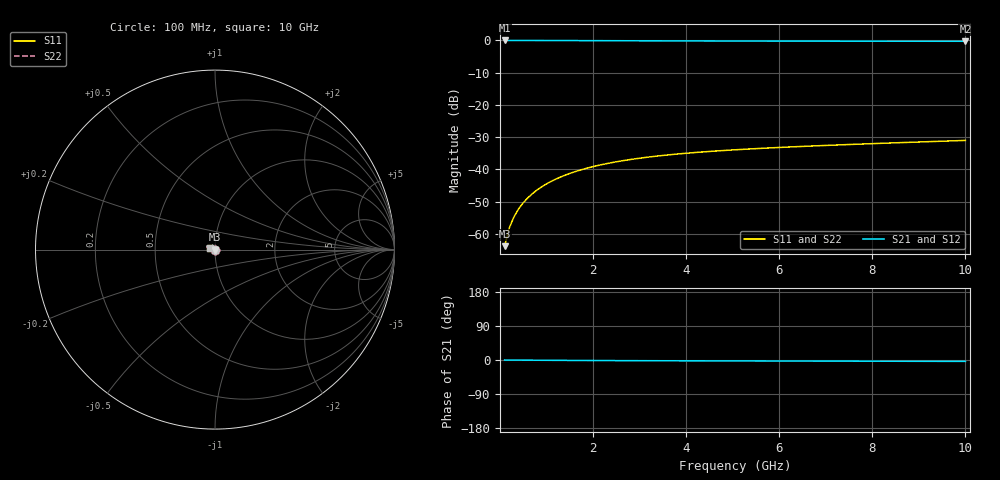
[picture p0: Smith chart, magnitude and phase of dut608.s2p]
! Touchstone file exported from HFSS 2024.1.0
!  File:  C:/UserFiles/LocalFiles/RDL_TSV_Batchsim/temp_TSV1_608_1779788070.aedt
!  Generated:  05:39:18 PM May 26, 2026
!  Design:  TSV1
!  Project:  temp_TSV1_608_1779788070
!  Setup:  Setup1
!  Solution:  Sweep
! Variables:
!  dtsv = 7.29um
!  hbump = 3um
!  htsv = 53.43um
!  lrdl = 252.1521522um
!  p = 40
!  p1 = 46.87um
!  t = 500um
!  trdl = 3um
!  wrdl = 24.89489489um
# GHz S MA R 50.000000
! Terminal data exported
! Port[1] = TSV22_T1
! Port[2] = TSV22_T2
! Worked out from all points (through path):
!   100 points, 100 MHz to 10 GHz, reference 50 ohm
!   highest |S21| = 0.00 dB at 100 MHz (marker M1); lowest = -0.3 dB at 10 GHz (marker M2)
!   lowest |S11| = -63.8 dB at 100 MHz (marker M3), VSWR 1.00, Z = 50 - j0.0616 ohm
!   |S11| at or under -10 dB: start of sweep to end of sweep
!   |S22| runs from -63.8 to -31.0 dB; largest |S21 - S12| = 3e-15
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0.1  0.0006458 -72.5  0.9998 -0.1  0.9998 -0.1  0.0006458 -72.5
! Gamma 0 0 0 0
! Port Impedance 50 0 50 0
0.2  0.001236 -84.1  0.9997 -0.2  0.9997 -0.2  0.001236 -84.1
0.3  0.001836 -89.5  0.9996 -0.2  0.9996 -0.2  0.001836 -89.5
0.4  0.002439 -93.2  0.9994 -0.3  0.9994 -0.3  0.002439 -93.2
0.5  0.003039 -96.2  0.9992 -0.4  0.9992 -0.4  0.003039 -96.2
0.6  0.003636 -98.9  0.9989 -0.5  0.9989 -0.5  0.003636 -98.9
0.7  0.004229 -101.3  0.9987 -0.5  0.9987 -0.5  0.004229 -101.3
0.8  0.004815 -103.6  0.9983 -0.6  0.9983 -0.6  0.004815 -103.6
0.9  0.005393 -105.8  0.998 -0.7  0.998 -0.7  0.005393 -105.8
1.1  0.006524 -109.9  0.9972 -0.8  0.9972 -0.8  0.006524 -109.9
1.4  0.008142 -115.7  0.9959 -1.0  0.9959 -1.0  0.008142 -115.7
1.6  0.009162 -119.4  0.9949 -1.1  0.9949 -1.1  0.009162 -119.4
1.8  0.01013 -122.9  0.9939 -1.3  0.9939 -1.3  0.01013 -122.9
2.1  0.01149 -128.0  0.9923 -1.4  0.9923 -1.4  0.01149 -128.0
2.5  0.01313 -134.3  0.9902 -1.6  0.9902 -1.6  0.01313 -134.3
2.9  0.01459 -140.1  0.9881 -1.8  0.9881 -1.8  0.01459 -140.1
3.4  0.01618 -146.8  0.9857 -2.0  0.9857 -2.0  0.01618 -146.8
4.2  0.0183 -156.3  0.9823 -2.2  0.9823 -2.2  0.0183 -156.3
5.1  0.02025 -165.5  0.9793 -2.5  0.9793 -2.5  0.02025 -165.5
6.7  0.02308 -178.8  0.9754 -2.9  0.9754 -2.9  0.02308 -178.8
8.4  0.02572 169.9  0.9727 -3.3  0.9727 -3.3  0.02572 169.9
10  0.02817 161.2  0.9709 -3.7  0.9709 -3.7  0.02817 161.2
